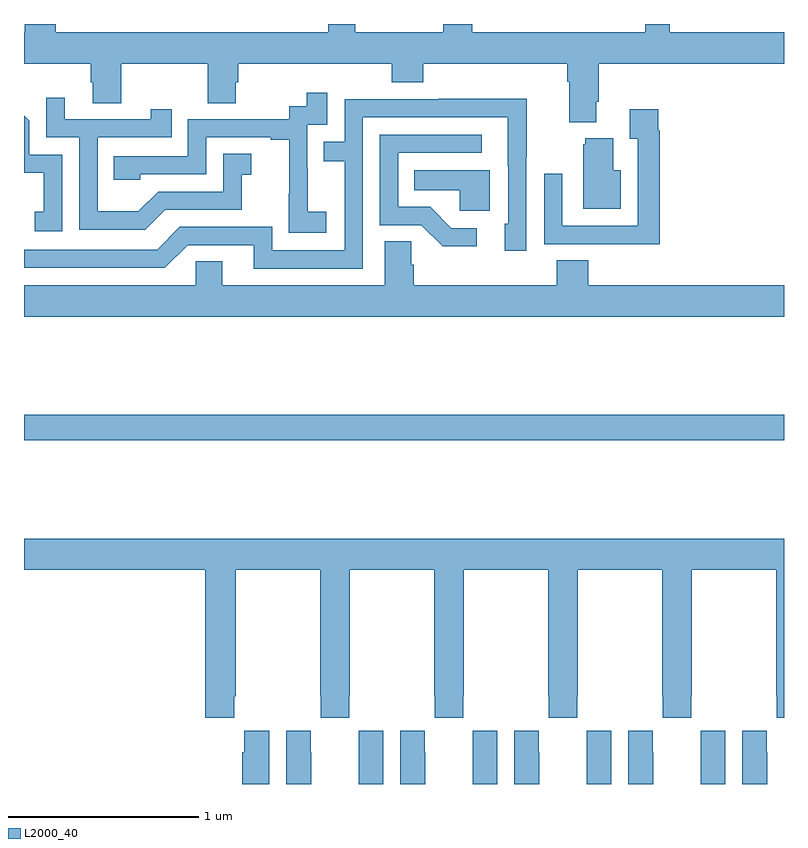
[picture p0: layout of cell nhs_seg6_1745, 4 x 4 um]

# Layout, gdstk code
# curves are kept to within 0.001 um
import gdstk
lib = gdstk.Library(unit=1e-6, precision=1e-09)
def R(c, l, rs):  # rectangles x0, y0, x1, y1
    for r in rs: c.add(gdstk.rectangle(r[:2], r[2:], *l))
def P(c, l, *ps):  # polygons
    for p in ps: c.add(gdstk.Polygon(p, *l))
L2000_40 = (2000, 40)

nhs_seg6_1745 = lib.new_cell('nhs_seg6_1745')
R(nhs_seg6_1745, L2000_40, [(215,989.308,219,989.444)])
P(nhs_seg6_1745, L2000_40, [(218.011,991.09),(218.024,991.09),(218.024,991.292),(219,991.292),(219,991.456),(218.399,991.456),(218.399,991.5),(218.269,991.5),(218.269,991.456),(217.358,991.456),(217.358,991.5),(217.206,991.5),(217.206,991.456),(216.744,991.456),(216.744,991.5),(216.602,991.5),(216.602,991.456),(215.167,991.456),(215.167,991.5),(215.003,991.5),(215.003,991.456),(215,991.456),(215,991.292),(215.351,991.292),(215.351,991.194),(215.363,991.194),(215.363,991.084),(215.511,991.084),(215.511,991.292),(215.968,991.292),(215.968,991.084),(216.115,991.084),(216.115,991.194),(216.128,991.194),(216.128,991.292),(216.935,991.292),(216.935,991.193),(217.1,991.193),(217.1,991.292),(217.859,991.292),(217.859,991.196),(217.871,991.196),(217.871,990.983),(218.011,990.983)],
  [(216.592,990.511),(216.494,990.511),(216.494,990.74),(216.492,990.74),(216.492,990.969),(216.597,990.969),(216.597,991.138),(216.489,991.138),(216.489,991.068),(216.396,991.068),(216.396,990.999),(215.862,990.999),(215.862,990.804),(215.473,990.804),(215.473,990.681),(215.613,990.681),(215.613,990.708),(215.958,990.708),(215.958,990.903),(216.299,990.903),(216.299,990.891),(216.395,990.891),(216.395,990.607),(216.394,990.607),(216.394,990.401),(216.592,990.401)],
  [(215.743,990.522),(216.147,990.522),(216.147,990.707),(216.196,990.707),(216.196,990.817),(216.048,990.817),(216.048,990.618),(215.706,990.618),(215.602,990.514),(215.388,990.514),(215.388,990.903),(215.777,990.903),(215.777,991.051),(215.666,991.051),(215.666,990.999),(215.215,990.999),(215.215,991.111),(215.118,991.111),(215.118,990.903),(215.292,990.903),(215.292,990.417),(215.638,990.417)],
  [(216.783,991.008),(217.547,991.008),(217.548,990.45),(217.529,990.45),(217.529,990.306),(217.644,990.306),(217.644,990.799),(217.647,990.799),(217.647,991.106),(217.183,991.106),(217.183,991.104),(216.687,991.104),(216.687,990.879),(216.577,990.879),(216.577,990.778),(216.687,990.778),(216.687,990.309),(216.306,990.309),(216.306,990.432),(215.82,990.432),(215.7,990.312),(215,990.312),(215,990.216),(215.742,990.216),(215.862,990.336),(216.209,990.336),(216.209,990.213),(216.783,990.213)],
  [(218.345,990.938),(218.338,990.938),(218.338,991.051),(218.189,991.051),(218.189,990.895),(218.229,990.895),(218.229,990.438),(217.833,990.438),(217.833,990.712),(217.737,990.712),(217.737,990.342),(218.053,990.342),(218.053,990.341),(218.345,990.341)],
  [(215.202,990.813),(215.028,990.813),(215.028,990.99),(215,991.018),(215,990.717),(215.105,990.717),(215.105,990.513),(215.056,990.513),(215.056,990.408),(215.202,990.408)],
  [(217.384,990.426),(217.249,990.426),(217.138,990.537),(216.969,990.537),(216.969,990.822),(217.408,990.822),(217.408,990.918),(216.873,990.918),(216.873,990.441),(217.092,990.441),(217.205,990.329),(217.384,990.329)],
  [(218.14,990.73),(218.101,990.73),(218.101,990.898),(217.955,990.898),(217.955,990.867),(217.943,990.867),(217.943,990.527),(218.14,990.527)],
  [(217.45,990.73),(217.054,990.73),(217.054,990.626),(217.293,990.626),(217.293,990.518),(217.45,990.518)],
  [(219,990.124),(217.97,990.124),(217.97,990.257),(217.805,990.257),(217.805,990.124),(217.052,990.124),(217.052,990.233),(217.038,990.233),(217.038,990.356),(216.899,990.356),(216.899,990.124),(216.043,990.124),(216.043,990.251),(215.904,990.251),(215.904,990.124),(215,990.124),(215,989.96),(219,989.96)],
  [(215,988.628),(215.954,988.628),(215.954,987.849),(216.107,987.849),(216.107,987.961),(216.114,987.961),(216.114,988.628),(216.559,988.628),(216.559,987.961),(216.561,987.961),(216.561,987.849),(216.711,987.849),(216.711,987.961),(216.714,987.961),(216.714,988.628),(217.159,988.628),(217.159,987.961),(217.161,987.961),(217.161,987.849),(217.311,987.849),(217.311,987.961),(217.314,987.961),(217.314,988.628),(217.759,988.628),(217.759,987.961),(217.761,987.961),(217.761,987.849),(217.911,987.849),(217.911,987.961),(217.914,987.961),(217.914,988.628),(218.359,988.628),(218.359,987.961),(218.361,987.961),(218.361,987.849),(218.511,987.849),(218.511,987.961),(218.514,987.961),(218.514,988.628),(218.959,988.628),(218.959,987.961),(218.961,987.961),(218.961,987.849),(219,987.849),(219,988.792),(215,988.792)],
  [(217.711,987.668),(217.71,987.668),(217.71,987.781),(217.58,987.781),(217.58,987.5),(217.711,987.5)],
  [(218.092,987.781),(217.962,987.781),(217.962,987.668),(217.961,987.668),(217.961,987.5),(218.092,987.5)],
  [(218.311,987.668),(218.31,987.668),(218.31,987.781),(218.18,987.781),(218.18,987.5),(218.311,987.5)],
  [(218.692,987.781),(218.562,987.781),(218.562,987.668),(218.561,987.668),(218.561,987.5),(218.692,987.5)],
  [(218.911,987.668),(218.91,987.668),(218.91,987.781),(218.78,987.781),(218.78,987.5),(218.911,987.5)],
  [(217.492,987.781),(217.362,987.781),(217.362,987.668),(217.361,987.668),(217.361,987.5),(217.492,987.5)],
  [(216.511,987.668),(216.51,987.668),(216.51,987.781),(216.38,987.781),(216.38,987.5),(216.511,987.5)],
  [(216.292,987.781),(216.158,987.781),(216.158,987.668),(216.149,987.668),(216.149,987.5),(216.292,987.5)],
  [(216.892,987.781),(216.762,987.781),(216.762,987.668),(216.761,987.668),(216.761,987.5),(216.892,987.5)],
  [(217.111,987.668),(217.11,987.668),(217.11,987.781),(216.98,987.781),(216.98,987.5),(217.111,987.5)])

lib.write_gds('nhs_seg6_1745.gds')
